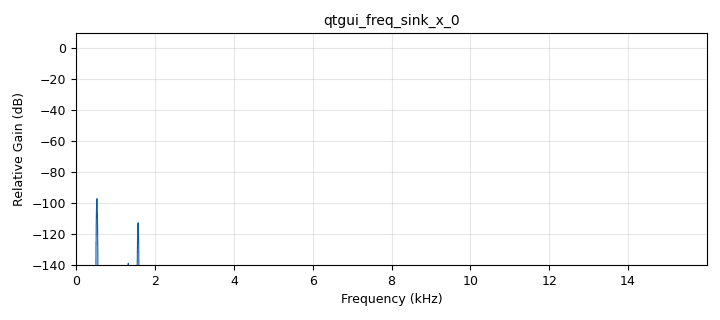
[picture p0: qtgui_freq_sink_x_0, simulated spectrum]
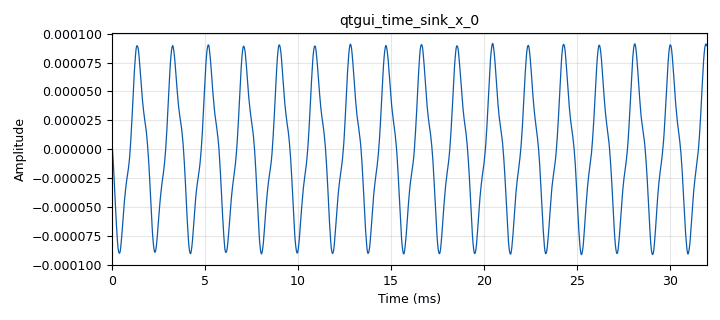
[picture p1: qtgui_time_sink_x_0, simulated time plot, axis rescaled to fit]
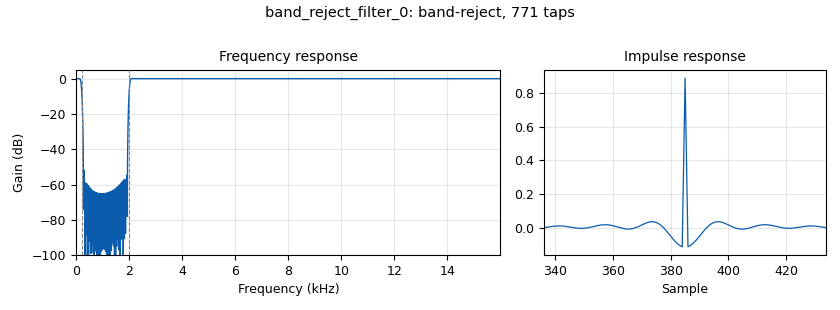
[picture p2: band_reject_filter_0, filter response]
options:
  parameters:
    generate_options: qt_gui
    id: lab1_4
    output_language: python
    title: Not titled yet
  states: {}

blocks:
- name: cutoff
  id: variable_qtgui_entry
  parameters:
    type: real
    value: '1000'
  states: {}
- name: high_cutoff
  id: variable_qtgui_entry
  parameters:
    type: real
    value: '2000'
  states: {}
- name: low_cutoff
  id: variable_qtgui_entry
  parameters:
    type: real
    value: '200'
  states: {}
- name: samp_rate
  id: variable
  parameters:
    value: '32000'
  states: {}
- name: transition_band
  id: variable_qtgui_entry
  parameters:
    type: real
    value: '100'
  states: {}
- name: analog_sig_source_x_0
  id: analog_sig_source_x
  parameters:
    amp: '0.1'
    freq: '1568'
    offset: '0'
    phase: '0'
    samp_rate: samp_rate
    type: float
    waveform: analog.GR_COS_WAVE
  states: {}
- name: analog_sig_source_x_0_0
  id: analog_sig_source_x
  parameters:
    amp: '0.1'
    freq: '523.25'
    offset: '0'
    phase: '0'
    samp_rate: samp_rate
    type: float
    waveform: analog.GR_COS_WAVE
  states: {}
- name: analog_sig_source_x_0_1
  id: analog_sig_source_x
  parameters:
    amp: '0.1'
    freq: '1318.5'
    offset: '0'
    phase: '0'
    samp_rate: samp_rate
    type: float
    waveform: analog.GR_COS_WAVE
  states: {}
- name: audio_sink_0
  id: audio_sink
  parameters:
    samp_rate: samp_rate
  states: {}
- name: band_pass_filter_0
  id: band_pass_filter
  parameters:
    decim: '1'
    gain: '1'
    high_cutoff_freq: high_cutoff
    low_cutoff_freq: low_cutoff
    samp_rate: samp_rate
    type: fir_filter_fff
    width: transition_band
    win: window.WIN_HAMMING
  states: {state: disabled}
- name: band_reject_filter_0
  id: band_reject_filter
  parameters:
    decim: '1'
    gain: '1'
    high_cutoff_freq: high_cutoff
    low_cutoff_freq: low_cutoff
    samp_rate: samp_rate
    type: fir_filter_fff
    width: transition_band
    win: window.WIN_HAMMING
  states: {}
- name: blocks_add_xx_0
  id: blocks_add_xx
  parameters:
    num_inputs: '3'
    type: float
  states: {}
- name: high_pass_filter_0
  id: high_pass_filter
  parameters:
    cutoff_freq: cutoff
    decim: '1'
    gain: '1'
    samp_rate: samp_rate
    type: fir_filter_fff
    width: transition_band
    win: window.WIN_HAMMING
  states: {state: disabled}
- name: low_pass_filter_0
  id: low_pass_filter
  parameters:
    cutoff_freq: cutoff
    decim: '1'
    gain: '1'
    samp_rate: samp_rate
    type: fir_filter_fff
    width: transition_band
    win: window.WIN_HAMMING
  states: {state: disabled}
- name: qtgui_freq_sink_x_0
  id: qtgui_freq_sink_x
  parameters:
    bw: samp_rate
    ctrlpanel: 'True'
    fc: '0'
    fftsize: '4096'
    freqhalf: 'False'
    type: float
  states: {}
- name: qtgui_time_sink_x_0
  id: qtgui_time_sink_x
  parameters:
    size: '1024'
    srate: samp_rate
    type: float
  states: {}

connections:
- [analog_sig_source_x_0, '0', blocks_add_xx_0, '0']
- [analog_sig_source_x_0_0, '0', blocks_add_xx_0, '1']
- [analog_sig_source_x_0_1, '0', blocks_add_xx_0, '2']
- [band_pass_filter_0, '0', audio_sink_0, '0']
- [band_pass_filter_0, '0', qtgui_freq_sink_x_0, '0']
- [band_pass_filter_0, '0', qtgui_time_sink_x_0, '0']
- [band_reject_filter_0, '0', audio_sink_0, '0']
- [band_reject_filter_0, '0', qtgui_freq_sink_x_0, '0']
- [band_reject_filter_0, '0', qtgui_time_sink_x_0, '0']
- [blocks_add_xx_0, '0', band_pass_filter_0, '0']
- [blocks_add_xx_0, '0', band_reject_filter_0, '0']
- [blocks_add_xx_0, '0', high_pass_filter_0, '0']
- [blocks_add_xx_0, '0', low_pass_filter_0, '0']
- [high_pass_filter_0, '0', audio_sink_0, '0']
- [high_pass_filter_0, '0', qtgui_freq_sink_x_0, '0']
- [high_pass_filter_0, '0', qtgui_time_sink_x_0, '0']
- [low_pass_filter_0, '0', audio_sink_0, '0']
- [low_pass_filter_0, '0', qtgui_freq_sink_x_0, '0']
- [low_pass_filter_0, '0', qtgui_time_sink_x_0, '0']

metadata:
  file_format: 1
  grc_version: 3.10.12.0
